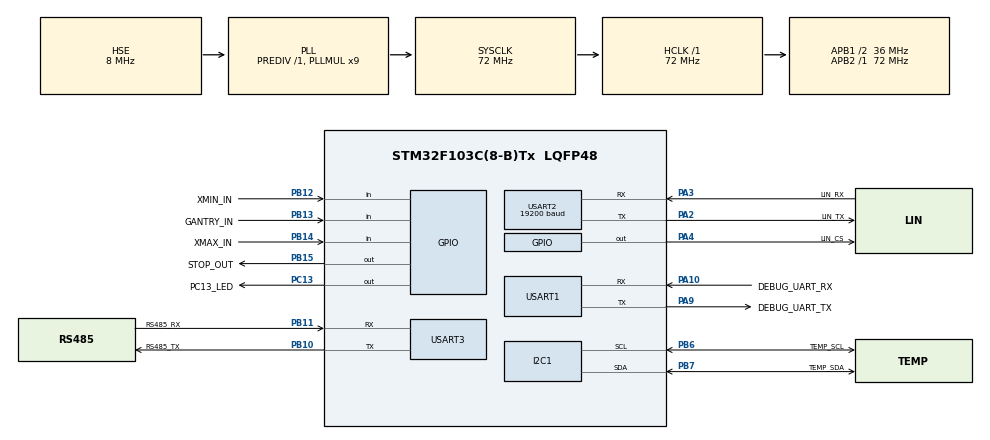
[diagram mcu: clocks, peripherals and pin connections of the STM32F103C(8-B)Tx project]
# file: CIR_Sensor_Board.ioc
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Dma.Request0=USART2_RX
Dma.USART2_RX.0.Direction=DMA_PERIPH_TO_MEMORY
Dma.USART2_RX.0.Instance=DMA1_Channel6
Dma.USART2_RX.0.MemDataAlignment=DMA_MDATAALIGN_BYTE
Dma.USART2_RX.0.MemInc=DMA_MINC_ENABLE
Dma.USART2_RX.0.Mode=DMA_NORMAL
Dma.USART2_RX.0.PeriphDataAlignment=DMA_PDATAALIGN_BYTE
Dma.USART2_RX.0.PeriphInc=DMA_PINC_DISABLE
Dma.USART2_RX.0.Priority=DMA_PRIORITY_LOW
FREERTOS.Tasks01=defaultTask,0,128,StartDefaultTask,Default,NULL,Dynamic,NULL,NULL;LinTask,1,128,StartLinTask,Default,NULL,Dynamic,NULL,NULL;TempSensorTask,0,128,StartTempSensorTask,Default,NULL,Dynamic,NULL,NULL
Mcu.Family=STM32F1
Mcu.Name=STM32F103C(8-B)Tx
Mcu.Package=LQFP48
NVIC.DMA1_Channel6_IRQn=true\:5\:0\:false\:false\:true\:true\:false
NVIC.PriorityGroup=NVIC_PRIORITYGROUP_4
NVIC.TIM1_UP_IRQn=true\:0\:0\:false\:false\:true\:false\:false
NVIC.TimeBase=TIM1_UP_IRQn
NVIC.TimeBaseIP=TIM1
NVIC.USART2_IRQn=true\:5\:0\:false\:false\:true\:true\:true
PA10.GPIO_Label=DEBUG_UART_RX
PA10.Mode=Asynchronous
PA10.Signal=USART1_RX
PA13.Mode=Serial_Wire
PA13.Signal=SYS_JTMS-SWDIO
PA14.Mode=Serial_Wire
PA14.Signal=SYS_JTCK-SWCLK
PA2.GPIO_Label=LIN_TX
PA2.Mode=LIN
PA2.Signal=USART2_TX
PA3.GPIO_Label=LIN_RX
PA3.GPIO_PuPd=GPIO_PULLUP
PA3.Mode=LIN
PA3.Signal=USART2_RX
PA4.GPIO_Label=LIN_CS
PA4.Signal=GPIO_Output
PA9.GPIO_Label=DEBUG_UART_TX
PA9.Mode=Asynchronous
PA9.Signal=USART1_TX
PB10.GPIO_Label=RS485_TX
PB10.Mode=Asynchronous
PB10.Signal=USART3_TX
PB11.GPIO_Label=RS485_RX
PB11.Mode=Asynchronous
PB11.Signal=USART3_RX
PB12.GPIO_Label=XMIN_IN
PB12.Signal=GPIO_Input
PB13.GPIO_Label=GANTRY_IN
PB13.Signal=GPIO_Input
PB14.GPIO_Label=XMAX_IN
PB14.Signal=GPIO_Input
PB15.GPIO_Label=STOP_OUT
PB15.Signal=GPIO_Output
PB6.GPIO_Label=TEMP_SCL
PB6.Mode=I2C
PB6.Signal=I2C1_SCL
PB7.GPIO_Label=TEMP_SDA
PB7.Mode=I2C
PB7.Signal=I2C1_SDA
PC13-TAMPER-RTC.GPIO_Label=PC13_LED
PC13-TAMPER-RTC.Signal=GPIO_Output
PC14-OSC32_IN.Mode=LSE-External-Oscillator
PC14-OSC32_IN.Signal=RCC_OSC32_IN
PC15-OSC32_OUT.Mode=LSE-External-Oscillator
PC15-OSC32_OUT.Signal=RCC_OSC32_OUT
PD0-OSC_IN.Mode=HSE-External-Oscillator
PD0-OSC_IN.Signal=RCC_OSC_IN
PD1-OSC_OUT.Mode=HSE-External-Oscillator
PD1-OSC_OUT.Signal=RCC_OSC_OUT
ProjectManager.HeapSize=0x200
ProjectManager.StackSize=0x400
ProjectManager.TargetToolchain=TrueSTUDIO
RCC.AHBFreq_Value=72000000
RCC.APB1CLKDivider=RCC_HCLK_DIV2
RCC.APB1Freq_Value=36000000
RCC.APB1TimFreq_Value=72000000
RCC.APB2Freq_Value=72000000
RCC.APB2TimFreq_Value=72000000
RCC.HCLKFreq_Value=72000000
RCC.PLLMUL=RCC_PLL_MUL9
RCC.PLLSourceVirtual=RCC_PLLSOURCE_HSE
RCC.SYSCLKFreq_VALUE=72000000
RCC.SYSCLKSource=RCC_SYSCLKSOURCE_PLLCLK
RCC.USBFreq_Value=48000000
RCC.USBPrescaler=RCC_USBCLKSOURCE_PLL_DIV1_5
USART1.VirtualMode=VM_ASYNC
USART2.BaudRate=19200
USART2.VirtualMode=VM_ASYNC
USART3.VirtualMode=VM_ASYNC
VP_FREERTOS_VS_ENABLE.Mode=Enabled
VP_SYS_VS_tim1.Mode=TIM1
board=CIR_Sensor_Board

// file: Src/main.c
/**
  ******************************************************************************
  * @file           : main.c
  * @brief          : Main program body
  ******************************************************************************
  * This notice applies to any and all portions of this file
  * that are not between comment pairs USER CODE BEGIN and
  * USER CODE END. Other portions of this file, whether
  * inserted by the user or by software development tools
  * are owned by their respective copyright owners.
  *
  * Copyright (c) 2018 STMicroelectronics International N.V.
  * All rights reserved.
  *
  * Redistribution and use in source and binary forms, with or without
  * modification, are permitted, provided that the following conditions are met:
  *
  * 1. Redistribution of source code must retain the above copyright notice,
  *    this list of conditions and the following disclaimer.
  * 2. Redistributions in binary form must reproduce the above copyright notice,
  *    this list of conditions and the following disclaimer in the documentation
  *    and/or other materials provided with the distribution.
  * 3. Neither the name of STMicroelectronics nor the names of other
  *    contributors to this software may be used to endorse or promote products
  *    derived from this software without specific written permission.
  * 4. This software, including modifications and/or derivative works of this
  *    software, must execute solely and exclusively on microcontroller or
  *    microprocessor devices manufactured by or for STMicroelectronics.
  * 5. Redistribution and use of this software other than as permitted under
  *    this license is void and will automatically terminate your rights under
  *    this license.
  *
  * THIS SOFTWARE IS PROVIDED BY STMICROELECTRONICS AND CONTRIBUTORS "AS IS"
  * AND ANY EXPRESS, IMPLIED OR STATUTORY WARRANTIES, INCLUDING, BUT NOT
  * LIMITED TO, THE IMPLIED WARRANTIES OF MERCHANTABILITY, FITNESS FOR A
  * PARTICULAR PURPOSE AND NON-INFRINGEMENT OF THIRD PARTY INTELLECTUAL PROPERTY
  * RIGHTS ARE DISCLAIMED TO THE FULLEST EXTENT PERMITTED BY LAW. IN NO EVENT
  * SHALL STMICROELECTRONICS OR CONTRIBUTORS BE LIABLE FOR ANY DIRECT, INDIRECT,
  * INCIDENTAL, SPECIAL, EXEMPLARY, OR CONSEQUENTIAL DAMAGES (INCLUDING, BUT NOT
  * LIMITED TO, PROCUREMENT OF SUBSTITUTE GOODS OR SERVICES; LOSS OF USE, DATA,
  * OR PROFITS; OR BUSINESS INTERRUPTION) HOWEVER CAUSED AND ON ANY THEORY OF
  * LIABILITY, WHETHER IN CONTRACT, STRICT LIABILITY, OR TORT (INCLUDING
  * NEGLIGENCE OR OTHERWISE) ARISING IN ANY WAY OUT OF THE USE OF THIS SOFTWARE,
  * EVEN IF ADVISED OF THE POSSIBILITY OF SUCH DAMAGE.
  *
  ******************************************************************************
  */
#include "main.h"
#include "stm32f1xx_hal.h"
#include "cmsis_os.h"
#include "dma.h"
#include "i2c.h"
#include "usart.h"
#include "gpio.h"

/* USER CODE BEGIN PV */
/* Private variables ---------------------------------------------------------*/

/* USER CODE END PV */

void SystemClock_Config(void);
void MX_FREERTOS_Init(void);

/* USER CODE BEGIN PFP */
/* Private function prototypes -----------------------------------------------*/

/* USER CODE END PFP */

int main(void)
{

  /* MCU Configuration----------------------------------------------------------*/

  /* Reset of all peripherals, Initializes the Flash interface and the Systick. */
  HAL_Init();

  /* Configure the system clock */
  SystemClock_Config();

  /* Initialize all configured peripherals */
  MX_GPIO_Init();
  MX_DMA_Init();
  MX_I2C1_Init();
  MX_USART1_UART_Init();
  MX_USART2_UART_Init();
  MX_USART3_UART_Init();

  /* Call init function for freertos objects (in freertos.c) */
  MX_FREERTOS_Init();

  /* Start scheduler */
  osKernelStart();

  /* We should never get here as control is now taken by the scheduler */

  /* Infinite loop */
  while (1)
  {

  }

}

void SystemClock_Config(void)
{

  RCC_OscInitTypeDef RCC_OscInitStruct;
  RCC_ClkInitTypeDef RCC_ClkInitStruct;

    /**Initializes the CPU, AHB and APB busses clocks
    */
  RCC_OscInitStruct.OscillatorType = RCC_OSCILLATORTYPE_HSE;
  RCC_OscInitStruct.HSEState = RCC_HSE_ON;
  RCC_OscInitStruct.HSEPredivValue = RCC_HSE_PREDIV_DIV1;
  RCC_OscInitStruct.HSIState = RCC_HSI_ON;
  RCC_OscInitStruct.PLL.PLLState = RCC_PLL_ON;
  RCC_OscInitStruct.PLL.PLLSource = RCC_PLLSOURCE_HSE;
  RCC_OscInitStruct.PLL.PLLMUL = RCC_PLL_MUL9;
  if (HAL_RCC_OscConfig(&RCC_OscInitStruct) != HAL_OK)
  {
    _Error_Handler(__FILE__, __LINE__);
  }

    /**Initializes the CPU, AHB and APB busses clocks
    */
  RCC_ClkInitStruct.ClockType = RCC_CLOCKTYPE_HCLK|RCC_CLOCKTYPE_SYSCLK
                              |RCC_CLOCKTYPE_PCLK1|RCC_CLOCKTYPE_PCLK2;
  RCC_ClkInitStruct.SYSCLKSource = RCC_SYSCLKSOURCE_PLLCLK;
  RCC_ClkInitStruct.AHBCLKDivider = RCC_SYSCLK_DIV1;
  RCC_ClkInitStruct.APB1CLKDivider = RCC_HCLK_DIV2;
  RCC_ClkInitStruct.APB2CLKDivider = RCC_HCLK_DIV1;

  if (HAL_RCC_ClockConfig(&RCC_ClkInitStruct, FLASH_LATENCY_2) != HAL_OK)
  {
    _Error_Handler(__FILE__, __LINE__);
  }

    /**Configure the Systick interrupt time
    */
  HAL_SYSTICK_Config(HAL_RCC_GetHCLKFreq()/1000);

    /**Configure the Systick
    */
  HAL_SYSTICK_CLKSourceConfig(SYSTICK_CLKSOURCE_HCLK);

  /* SysTick_IRQn interrupt configuration */
  HAL_NVIC_SetPriority(SysTick_IRQn, 15, 0);
}

void HAL_TIM_PeriodElapsedCallback(TIM_HandleTypeDef *htim)
{
  if (htim->Instance == TIM1) {
    HAL_IncTick();
  }
}

void _Error_Handler(char *file, int line)
{
  while(1)
  {
  }
}

/************************ (C) COPYRIGHT STMicroelectronics *****END OF FILE****/

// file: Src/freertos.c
/**
  ******************************************************************************
  * File Name          : freertos.c
  * Description        : Code for freertos applications
  ******************************************************************************
  * This notice applies to any and all portions of this file
  * that are not between comment pairs USER CODE BEGIN and
  * USER CODE END. Other portions of this file, whether
  * inserted by the user or by software development tools
  * are owned by their respective copyright owners.
  *
  * Copyright (c) 2018 STMicroelectronics International N.V.
  * All rights reserved.
  *
  * Redistribution and use in source and binary forms, with or without
  * modification, are permitted, provided that the following conditions are met:
  *
  * 1. Redistribution of source code must retain the above copyright notice,
  *    this list of conditions and the following disclaimer.
  * 2. Redistributions in binary form must reproduce the above copyright notice,
  *    this list of conditions and the following disclaimer in the documentation
  *    and/or other materials provided with the distribution.
  * 3. Neither the name of STMicroelectronics nor the names of other
  *    contributors to this software may be used to endorse or promote products
  *    derived from this software without specific written permission.
  * 4. This software, including modifications and/or derivative works of this
  *    software, must execute solely and exclusively on microcontroller or
  *    microprocessor devices manufactured by or for STMicroelectronics.
  * 5. Redistribution and use of this software other than as permitted under
  *    this license is void and will automatically terminate your rights under
  *    this license.
  *
  * THIS SOFTWARE IS PROVIDED BY STMICROELECTRONICS AND CONTRIBUTORS "AS IS"
  * AND ANY EXPRESS, IMPLIED OR STATUTORY WARRANTIES, INCLUDING, BUT NOT
  * LIMITED TO, THE IMPLIED WARRANTIES OF MERCHANTABILITY, FITNESS FOR A
  * PARTICULAR PURPOSE AND NON-INFRINGEMENT OF THIRD PARTY INTELLECTUAL PROPERTY
  * RIGHTS ARE DISCLAIMED TO THE FULLEST EXTENT PERMITTED BY LAW. IN NO EVENT
  * SHALL STMICROELECTRONICS OR CONTRIBUTORS BE LIABLE FOR ANY DIRECT, INDIRECT,
  * INCIDENTAL, SPECIAL, EXEMPLARY, OR CONSEQUENTIAL DAMAGES (INCLUDING, BUT NOT
  * LIMITED TO, PROCUREMENT OF SUBSTITUTE GOODS OR SERVICES; LOSS OF USE, DATA,
  * OR PROFITS; OR BUSINESS INTERRUPTION) HOWEVER CAUSED AND ON ANY THEORY OF
  * LIABILITY, WHETHER IN CONTRACT, STRICT LIABILITY, OR TORT (INCLUDING
  * NEGLIGENCE OR OTHERWISE) ARISING IN ANY WAY OUT OF THE USE OF THIS SOFTWARE,
  * EVEN IF ADVISED OF THE POSSIBILITY OF SUCH DAMAGE.
  *
  ******************************************************************************
  */

#include "FreeRTOS.h"
#include "task.h"
#include "cmsis_os.h"

/* USER CODE BEGIN Includes */
#include "gpio.h"
#include "usart.h"
#include <string.h>
#include "mySemaphores.h"
#include "stm32f1xx_hal_uart.h"
#include "DS2482.h"
#include "SensorBoardConfig.h"
#include "stm32f103xb.h"
#include <stdbool.h>
/* USER CODE END Includes */

osThreadId defaultTaskHandle;
osThreadId LinTaskHandle;
osThreadId TempSensorTaskHandle;

/* USER CODE BEGIN Variables */

struct {
	uint8_t 	xMin 	: 1;
	uint8_t 	xMax 	: 1;
	uint8_t 	unused 	: 2;
	uint16_t	spindleTempSensor : 12;
} sensorData;

/* USER CODE END Variables */

void StartDefaultTask(void const * argument);
void StartLinTask(void const * argument);
void StartTempSensorTask(void const * argument);

void MX_FREERTOS_Init(void); /* (MISRA C 2004 rule 8.1) */

/* USER CODE BEGIN FunctionPrototypes */
void TriggerEstop(void);
void ResetEstop(void);
void SetupDS2482(void);

/* USER CODE END FunctionPrototypes */

/* Hook prototypes */

/* Init FreeRTOS */

void MX_FREERTOS_Init(void) {

  /* USER CODE BEGIN RTOS_SEMAPHORES */
	linTaskSemaphore = xSemaphoreCreateBinary();
	tempAccessSemaphore = xSemaphoreCreateMutex();

	//assert(linTaskSemaphore != NULL);
  /* USER CODE END RTOS_SEMAPHORES */

  /* USER CODE BEGIN RTOS_TIMERS */
  /* start timers, add new ones, ... */
  SetupDS2482();
  /* USER CODE END RTOS_TIMERS */

  /* Create the thread(s) */
  /* definition and creation of defaultTask */
  osThreadDef(defaultTask, StartDefaultTask, osPriorityNormal, 0, 128);
  defaultTaskHandle = osThreadCreate(osThread(defaultTask), NULL);

  /* definition and creation of LinTask */
  osThreadDef(LinTask, StartLinTask, osPriorityAboveNormal, 0, 128);
  LinTaskHandle = osThreadCreate(osThread(LinTask), NULL);

  /* definition and creation of TempSensorTask */
  osThreadDef(TempSensorTask, StartTempSensorTask, osPriorityNormal, 0, 128);
  TempSensorTaskHandle = osThreadCreate(osThread(TempSensorTask), NULL);

}

/* StartDefaultTask function */
void StartDefaultTask(void const * argument)
{
  bool spindleCooldownEvent = false;

  /* USER CODE BEGIN StartDefaultTask */
  /* Infinite loop */
  for(;;)
  {
	//HAL_GPIO_WritePin(PC13_LED_GPIO_Port, PC13_LED_Pin, GPIO_PIN_RESET);
    //osDelay(250);
    //HAL_GPIO_WritePin(PC13_LED_GPIO_Port, PC13_LED_Pin, GPIO_PIN_SET);
    //osDelay(250);

	  // Get the latest sensor data
	  sensorData.xMin = (uint8_t)HAL_GPIO_ReadPin(XMIN_IN_GPIO_Port, XMIN_IN_Pin);
	  sensorData.xMax = (uint8_t)HAL_GPIO_ReadPin(XMAX_IN_GPIO_Port, XMAX_IN_Pin);

	  // TODO BV - get the data from the gantry alignment sensor

	  // Check if the sensor data is in the safe zone

	  // TODO BV - check the gantry alignment sensor against the safe limit

	  // Check the temperature reading
	  xSemaphoreTake(tempAccessSemaphore, 5);

	  // Check if the spindle when over temp
	  if(sensorData.spindleTempSensor >= SPINDLE_CUTOFF_TEMP)
	  {
		  TriggerEstop();
		  spindleCooldownEvent = true;
	  }

	  // Wait for the spindle to cool off before release the ESTOP
	  if(spindleCooldownEvent)
	  {
		  if(sensorData.spindleTempSensor < SPINDLE_COOLDOWN_TEMP)
		  {
			  ResetEstop();
			  spindleCooldownEvent = false;
		  }
	  }

	  xSemaphoreGive(tempAccessSemaphore);

	  osDelay(100);
  }
  /* USER CODE END StartDefaultTask */
}

/* StartLinTask function */
void StartLinTask(void const * argument)
{
  /* USER CODE BEGIN StartLinTask */
	char charBuf[30] = "LIN thread started.\r\n";

	HAL_UART_Transmit(&huart1, (uint8_t*)charBuf, (uint16_t)strlen(charBuf), 20);

	// Enable the LIN transceiver CS pin
	HAL_GPIO_WritePin(LIN_CS_GPIO_Port, LIN_CS_Pin, GPIO_PIN_SET);

	uint8_t receiveBytes[2] = {0, 0};

	// Enable LIN break character detect
	__HAL_UART_ENABLE_IT(&huart2, UART_IT_LBD);
	__HAL_UART_ENABLE_IT(&huart2, UART_IT_RXNE);

	//HAL_StatusTypeDef rxRet = HAL_UART_Receive_DMA(&huart2, receiveBytes, 2);

	//HAL_UART_Receive_IT(&huart2, receiveBytes, 2);

  /* Infinite loop */
	while(1)
	{
		// Wait until a LIN break character event occurs
		xSemaphoreTake(linTaskSemaphore, portMAX_DELAY);

		// Disable LIN break character detect
		__HAL_UART_DISABLE_IT(&huart2, UART_IT_LBD);
		__HAL_UART_DISABLE_IT(&huart2, UART_IT_RXNE);

		HAL_StatusTypeDef rxRet = HAL_UART_Receive_DMA(&huart2, receiveBytes, 2);
		xSemaphoreTake(linTaskSemaphore, 5);

		// snprintf(charBuf, sizeof(charBuf), "    LIN: %X %X\r\n", receiveBytes[0], receiveBytes[1]);
		// HAL_UART_Transmit(&huart1, (uint8_t*)charBuf, (uint16_t)strlen(charBuf), 20);

		if(rxRet == HAL_OK)
		{
			if(receiveBytes[0] == 0x55)
			{
				if(receiveBytes[1] == LIN_ID)
				{
					//uint8_t testData[2] = {0xF0, 0x0F};

					uint8_t sendData[2];
					sendData[0] = sensorData.xMin | (sensorData.xMax << 1) | ((sensorData.spindleTempSensor & 0xF00) >> 4);
					sendData[1] = sensorData.spindleTempSensor & 0xFF;

					__disable_irq();
					CLEAR_BIT(huart2.Instance->CR1, USART_CR1_RE);
					HAL_UART_Transmit(&huart2, sendData, 2, 20);
					SET_BIT(huart2.Instance->CR1, USART_CR1_RE);
					__enable_irq();

					//strcpy(charBuf, "Sent 0xFA 0xAF over LIN.\r\n");
					//HAL_UART_Transmit(&huart1, (uint8_t*)charBuf, (uint16_t)strlen(charBuf), 20);
				}
			}
		}
		else
		{
			HAL_UART_AbortReceive(&huart2);
		}

		// Clear previous receive bytes
		for(int i = 0; i < sizeof(receiveBytes); i++)
		{
			receiveBytes[i] = 0;
		}

		// Enable LIN break detection
		__HAL_UART_ENABLE_IT(&huart2, UART_IT_LBD);
		__HAL_UART_ENABLE_IT(&huart2, UART_IT_RXNE);

		// // DEBUG
		// strcpy(charBuf, "    LIN loop ran.\r\n");
		// HAL_UART_Transmit(&huart1, (uint8_t*)charBuf, (uint16_t)strlen(charBuf), 20);

	}
  /* USER CODE END StartLinTask */
}

/* StartTempSensorTask function */
void StartTempSensorTask(void const * argument)
{
  /* USER CODE BEGIN StartTempSensorTask */
  /* Infinite loop */
	while(1)
	{
		DS2482_One_Wire_Reset();
		DS2482_Write_Byte(0xCC); // Skip ROM command

		// Test reading the temperature from the DS18S20
		DS2482_Write_Config(false, true, true);  // Enable strong pullup for temp conversion
		DS2482_Write_Byte(0x44);  // Get the temp

		osDelay(750); // Wait for the temp conversion

		DS2482_One_Wire_Reset();
		DS2482_Write_Byte(0xCC); // Skip ROM command

		DS2482_Write_Byte(0xbe); 	// Read scratchpad command

		uint8_t tempBytes[2];

		DS2482_Read_Byte(&tempBytes[0]); 	// LSB temp byte
		DS2482_Read_Byte(&tempBytes[1]); 	// MSB temp byte

		// Convert the temp to C
		xSemaphoreTake(tempAccessSemaphore, 5);
		sensorData.spindleTempSensor = (tempBytes[1] << 8) | tempBytes[0];
		sensorData.spindleTempSensor = sensorData.spindleTempSensor >> 1;
		xSemaphoreGive(tempAccessSemaphore);

		// Delay some time before checking the temp again
		osDelay(5000);
	}
  /* USER CODE END StartTempSensorTask */
}

/* USER CODE BEGIN Application */

void TriggerEstop()
{
	HAL_GPIO_WritePin(STOP_OUT_GPIO_Port, STOP_OUT_Pin, GPIO_PIN_SET);
}

void ResetEstop()
{
	HAL_GPIO_WritePin(STOP_OUT_GPIO_Port, STOP_OUT_Pin, GPIO_PIN_RESET);
}

void SetupDS2482()
{
	DS2482_Reset();

	DS2482_Write_Config(false, false, true);

	DS2482_Set_Read_Pointer(STATUS_REG);

	uint8_t byte;

	DS2482_Read_Byte(&byte);
}
/* USER CODE END Application */

/************************ (C) COPYRIGHT STMicroelectronics *****END OF FILE****/
